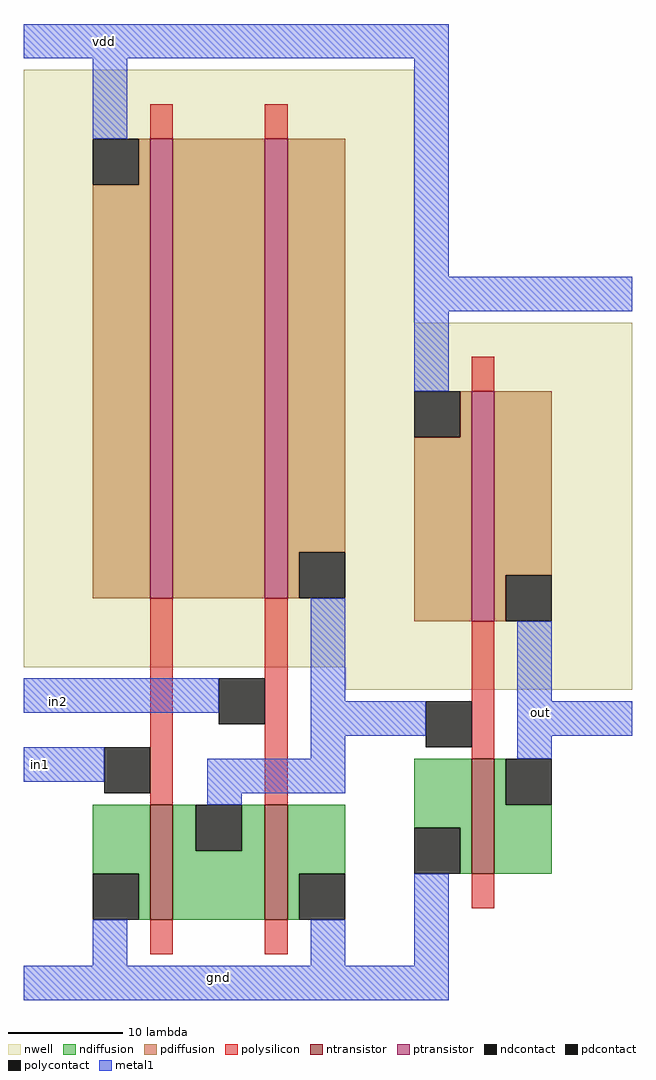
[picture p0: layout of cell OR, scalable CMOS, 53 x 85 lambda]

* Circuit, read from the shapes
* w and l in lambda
.subckt OR gnd in1 in2 out vdd
M1 n1 in1 gnd VSUBS nfet w=10 l=2
M2 gnd in2 n1 VSUBS nfet w=10 l=2
M3 out n1 gnd VSUBS nfet w=10 l=2
M4 n2 in1 vdd n3 pfet w=40 l=2
M5 n1 in2 n2 n3 pfet w=40 l=2
M6 out n1 vdd n3 pfet w=20 l=2
.ends

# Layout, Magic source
magic
tech scmos
<< nwell >>
rect -24 64 10 86
rect -24 34 29 64
rect 4 32 29 34
<< ntransistor >>
rect -13 12 -11 22
rect -3 12 -1 22
rect 15 16 17 26
<< ptransistor >>
rect -13 40 -11 80
rect -3 40 -1 80
rect 15 38 17 58
<< ndiffusion >>
rect -18 16 -13 22
rect -14 12 -13 16
rect -11 18 -9 22
rect -5 18 -3 22
rect -11 12 -3 18
rect -1 16 4 22
rect 10 20 15 26
rect 14 16 15 20
rect 17 22 18 26
rect 17 16 22 22
rect -1 12 0 16
<< pdiffusion >>
rect -14 76 -13 80
rect -18 40 -13 76
rect -11 40 -3 80
rect -1 44 4 80
rect -1 40 0 44
rect 14 54 15 58
rect 10 38 15 54
rect 17 42 22 58
rect 17 38 18 42
<< ndcontact >>
rect -18 12 -14 16
rect -9 18 -5 22
rect 10 16 14 20
rect 18 22 22 26
rect 0 12 4 16
<< pdcontact >>
rect -18 76 -14 80
rect 0 40 4 44
rect 10 54 14 58
rect 18 38 22 42
<< polysilicon >>
rect -13 80 -11 83
rect -3 80 -1 83
rect 15 58 17 61
rect -13 22 -11 40
rect -3 22 -1 40
rect 15 26 17 38
rect 15 13 17 16
rect -13 9 -11 12
rect -3 9 -1 12
<< polycontact >>
rect -17 23 -13 27
rect -7 29 -3 33
rect 11 27 15 31
<< metal1 >>
rect -24 87 13 90
rect -18 80 -15 87
rect 10 68 13 87
rect 10 65 29 68
rect 10 58 13 65
rect -24 30 -7 33
rect 1 31 4 40
rect 19 31 22 38
rect 1 28 11 31
rect -24 24 -17 27
rect 1 26 4 28
rect 19 28 29 31
rect 19 26 22 28
rect -8 23 4 26
rect -8 22 -5 23
rect -18 8 -15 12
rect 1 8 4 12
rect 10 8 13 16
rect -24 5 13 8
<< labels >>
rlabel metal1 -17 88 -17 89 5 vdd
rlabel metal1 -7 7 -7 7 1 gnd
rlabel metal1 -23 25 -22 26 3 in1
rlabel metal1 -21 31 -21 31 3 in2
rlabel metal1 21 30 21 30 1 out
<< end >>
